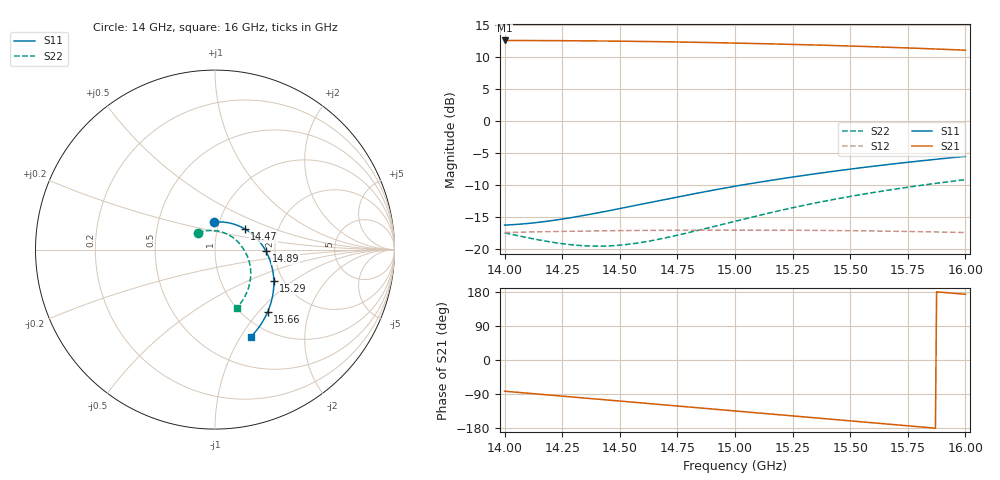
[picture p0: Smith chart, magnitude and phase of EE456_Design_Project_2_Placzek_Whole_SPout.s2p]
! Created Tue Mar 25 01:58:03 2025
# hz S ma R 50
! 2 Port Network Data from SP1.SP block
! freq  magS11  angS11  magS21  angS21  magS12  angS12  magS22  angS22
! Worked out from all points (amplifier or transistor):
!   401 points, 14 GHz to 16 GHz, reference 50 ohm
!   highest |S21| = 12.6 dB at 14 GHz (marker M1)
!   |S21| within 3 dB of that: start of sweep to end of sweep
!   unconditionally stable (mu >= 1): start of sweep to end of sweep
!   at 14.33 GHz: K = 1.10, MAG = 13.0 dB, |S12| = -17.3 dB
!   at 15 GHz: K = 1.08, MAG = 12.9 dB, |S12| = -17.1 dB
!   at 16 GHz: K = 1.04, MAG = 13.0 dB, |S12| = -17.5 dB
!   lowest NFmin = 0.40 dB at 14 GHz
!   S11 on the Smith chart (normalised r, x): 14 GHz: 0.95, +0.30; 14.47 GHz: 1.35, +0.33; 14.89 GHz: 1.79, -0.04; 15.29 GHz: 1.79, -0.72; 15.66 GHz: 1.29, -1.12; 16 GHz: 0.82, -1.11
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1.4e10  0.1525 91.6  4.247 -82.4  0.1337 -83.0  0.1327 135.3
1.409e10  0.1564 79.9  4.243 -87.0  0.1347 -87.0  0.1225 124.5
1.417e10  0.1622 69.8  4.238 -91.1  0.1355 -90.5  0.1149 113.8
1.425e10  0.17 60.0  4.23 -95.3  0.1362 -94.1  0.1091 102.2
1.4335e10  0.1804 50.1  4.22 -99.7  0.1369 -97.9  0.1054 89.0
1.4475e10  0.2013 35.1  4.198 -107.0  0.1379 -104.2  0.1054 66.4
1.457e10  0.2178 25.8  4.178 -112.0  0.1385 -108.5  0.1099 51.5
1.467e10  0.2368 16.7  4.155 -117.3  0.1389 -113.0  0.1183 36.9
1.478e10  0.2592 7.3  4.124 -123.1  0.1392 -118.0  0.1308 22.5
1.4895e10  0.284 -1.8  4.087 -129.2  0.1394 -123.3  0.1467 9.3
1.5e10  0.3075 -9.7  4.05 -134.8  0.1394 -128.1  0.163 -1.3
1.5145e10  0.3392 -19.1  3.998 -142.3  0.1393 -134.7  0.1891 -13.9
1.529e10  0.3715 -28.1  3.939 -149.9  0.139 -141.3  0.2161 -25.0
1.5335e10  0.3815 -30.8  3.92 -152.2  0.1388 -143.4  0.2246 -28.2
1.5415e10  0.3994 -35.5  3.883 -156.4  0.1384 -147.0  0.2397 -33.8
1.5495e10  0.4172 -40.2  3.845 -160.5  0.138 -150.7  0.2547 -39.1
1.5575e10  0.4349 -44.7  3.805 -164.7  0.1375 -154.3  0.2697 -44.3
1.566e10  0.4536 -49.5  3.76 -169.1  0.1368 -158.2  0.2854 -49.5
1.567e10  0.4558 -50.1  3.755 -169.6  0.1367 -158.6  0.2873 -50.1
1.575e10  0.4732 -54.5  3.711 -173.7  0.136 -162.2  0.3019 -54.9
1.583e10  0.4903 -58.8  3.666 -177.9  0.1353 -165.8  0.3162 -59.6
1.6e10  0.526 -67.9  3.565 173.4  0.1335 -173.5  0.3458 -69.2
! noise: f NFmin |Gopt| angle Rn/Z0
1.4e+10  0.4  0.3457  131.6  0.09524
1.422e+10  0.4099  0.3259  138.3  0.09162
1.444e+10  0.4198  0.3042  144.8  0.08963
1.466e+10  0.4299  0.2801  150.9  0.08937
1.488e+10  0.4398  0.2548  156.3  0.09069
1.511e+10  0.45  0.2276  160.7  0.09326
1.533e+10  0.4598  0.2006  163.5  0.09639
1.556e+10  0.47  0.1742  163.9  0.09952
1.578e+10  0.4799  0.1523  160.8  0.1018
1.6e+10  0.49  0.1385  153.4  0.1028
